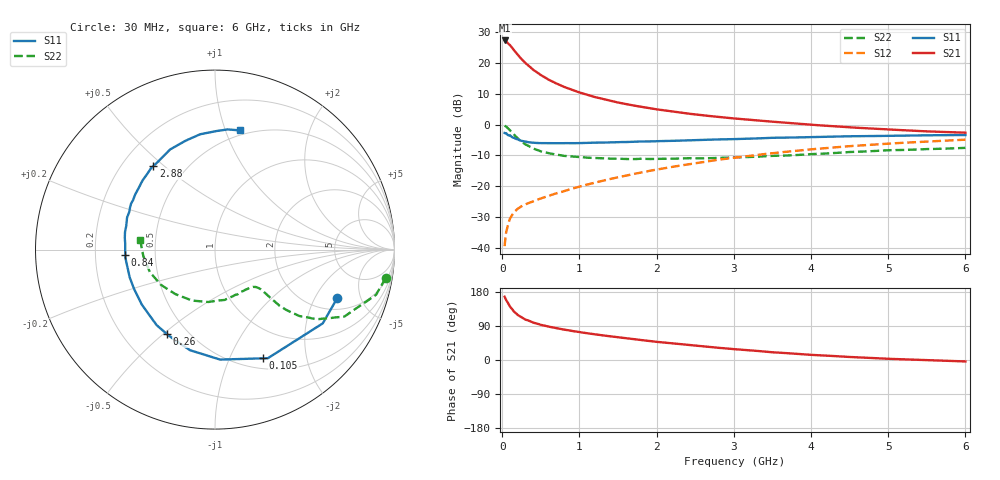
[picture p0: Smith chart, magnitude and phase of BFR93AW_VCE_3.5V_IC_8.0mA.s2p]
! Infineon Technologies  Discrete & RF Semiconductors
! BFR93AW
! VCE =  3.5 V,  IC =  8.0 mA
! Common Emitter S-Parameters:  Nov 2015
# GHz  S  MA  R  50
!  f  S11  S21  S12  S22
! GHz  MAG  ANG  MAG  ANG  MAG  ANG  MAG  ANG
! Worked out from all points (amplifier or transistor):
!   206 points, 30 MHz to 6 GHz, reference 50 ohm
!   highest |S21| = 27.4 dB at 30 MHz (marker M1)
!   |S21| within 3 dB of that: start of sweep to 145.5 MHz
!   unconditionally stable (mu >= 1): 788 MHz to 2.287 GHz
!   at 200 MHz: K = 0.42, MSG = 25.0 dB, |S12| = -27.3 dB
!   at 1.56 GHz: K = 1.07, MAG = 10.2 dB, |S12| = -16.8 dB
!   at 6 GHz: K = 0.92, MSG = 1.1 dB, |S12| = -4.9 dB
!   S11 on the Smith chart (normalised r, x): 30 MHz: 2.64, -3.09; 105 MHz: 0.62, -1.34; 260 MHz: 0.39, -0.52; 840 MHz: 0.33, -0.03; 2.88 GHz: 0.33, +0.46; 6 GHz: 0.46, +1.12
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0.03  0.7327 -21.7  23.37 167.0  0.0106 78.8  0.9642 -9.5
0.05  0.7275 -34.4  22.66 158.2  0.0178 73.9  0.9317 -15.7
0.1  0.673 -64.0  19.63 140.8  0.0299 62.8  0.8112 -27.4
0.105  0.6625 -66.1  19.25 139.7  0.0306 61.8  0.7985 -28.0
0.15  0.6135 -87.3  16.28 127.9  0.0377 54.9  0.6889 -34.3
0.155  0.6077 -88.9  16 127.1  0.0382 54.6  0.6797 -34.6
0.2  0.5776 -103.9  13.66 118.8  0.043 52.3  0.5984 -38.2
0.24  0.55 -114.7  11.98 113.5  0.0464 50.3  0.5407 -39.7
0.26  0.542 -119.5  11.26 111.0  0.048 49.8  0.5168 -40.3
0.3  0.5316 -127.8  10.02 106.7  0.0507 49.6  0.4783 -41.0
0.4  0.5101 -143.1  7.801 98.7  0.0568 50.9  0.4099 -41.0
0.5  0.5014 -154.0  6.393 92.7  0.0633 52.7  0.3683 -40.9
0.6  0.4997 -162.0  5.389 88.0  0.0695 55.2  0.3437 -40.7
0.84  0.5006 -176.5  3.942 78.9  0.0861 59.2  0.3086 -42.6
1.04  0.5034 174.7  3.222 72.4  0.1016 61.4  0.2945 -45.3
1.48  0.5204 160.4  2.32 60.3  0.1378 64.3  0.2802 -54.7
2.02  0.5402 145.5  1.761 47.5  0.1879 64.0  0.2785 -69.4
2.88  0.5784 126.4  1.307 30.8  0.2772 59.5  0.29 -93.7
3.1  0.5867 121.7  1.232 27.2  0.2999 57.6  0.2953 -100.6
4.1  0.6312 103.6  0.978 12.6  0.4068 47.5  0.3355 -134.9
5.1  0.6607 89.2  0.823 2.5  0.5003 35.6  0.3858 -163.9
6  0.6782 78.3  0.741 -3.8  0.5699 25.2  0.42 172.8
